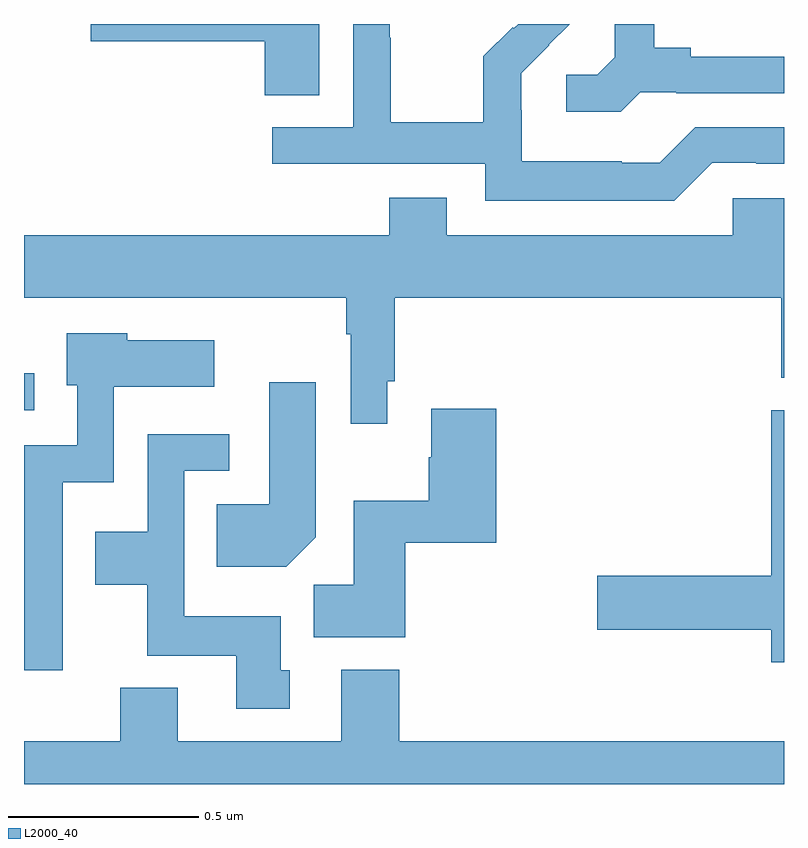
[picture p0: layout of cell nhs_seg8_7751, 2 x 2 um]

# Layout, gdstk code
import gdstk
lib = gdstk.Library(unit=1e-6, precision=1e-09)
def R(c, l, rs):  # rectangles x0, y0, x1, y1
    for r in rs: c.add(gdstk.rectangle(r[:2], r[2:], *l))
def P(c, l, *ps):  # polygons
    for p in ps: c.add(gdstk.Polygon(p, *l))
L2000_40 = (2000, 40)

nhs_seg8_7751 = lib.new_cell('nhs_seg8_7751')
R(nhs_seg8_7751, L2000_40, [(214,1102.884,214.027,1102.981), (215.831,1103.899,215.976,1103.9)])
P(nhs_seg8_7751, L2000_40, [(215.622,1103.721),(215.716,1103.721),(215.716,1103.718),(216,1103.718),(216,1103.814),(215.755,1103.814),(215.755,1103.837),(215.659,1103.837),(215.659,1103.9),(215.555,1103.9),(215.555,1103.813),(215.508,1103.766),(215.427,1103.766),(215.427,1103.669),(215.57,1103.669)],
  [(215.811,1103.535),(215.927,1103.535),(215.927,1103.532),(216,1103.532),(216,1103.628),(215.766,1103.628),(215.673,1103.535),(215.573,1103.535),(215.573,1103.539),(215.31,1103.539),(215.31,1103.673),(215.308,1103.673),(215.308,1103.77),(215.382,1103.844),(215.381,1103.845),(215.436,1103.9),(215.3,1103.9),(215.289,1103.889),(215.286,1103.892),(215.209,1103.815),(215.209,1103.641),(214.965,1103.641),(214.965,1103.864),(214.962,1103.864),(214.962,1103.9),(214.866,1103.9),(214.866,1103.628),(214.653,1103.628),(214.653,1103.532),(215.214,1103.532),(215.214,1103.435),(215.711,1103.435)],
  [(214.777,1103.9),(214.176,1103.9),(214.176,1103.855),(214.634,1103.855),(214.634,1103.713),(214.777,1103.713)],
  [(214.956,1102.96),(214.976,1102.96),(214.976,1103.18),(215.993,1103.18),(215.993,1102.969),(216,1102.969),(216,1103.442),(215.865,1103.442),(215.865,1103.344),(215.113,1103.344),(215.113,1103.443),(214.961,1103.443),(214.961,1103.344),(214,1103.344),(214,1103.18),(214.848,1103.18),(214.848,1103.084),(214.86,1103.084),(214.86,1102.848),(214.956,1102.848)],
  [(214.102,1102.694),(214.236,1102.694),(214.236,1102.946),(214.501,1102.946),(214.501,1103.068),(214.272,1103.068),(214.272,1103.086),(214.112,1103.086),(214.112,1102.95),(214.14,1102.95),(214.14,1102.791),(214,1102.791),(214,1102.2),(214.102,1102.2)],
  [(214.768,1102.55),(214.768,1102.957),(214.646,1102.957),(214.646,1102.636),(214.507,1102.636),(214.507,1102.472),(214.69,1102.472)],
  [(215.003,1102.535),(215.243,1102.535),(215.243,1102.888),(215.072,1102.888),(215.072,1102.76),(215.065,1102.76),(215.065,1102.645),(214.868,1102.645),(214.868,1102.424),(214.763,1102.424),(214.763,1102.286),(215.003,1102.286)],
  [(216,1102.884),(215.966,1102.884),(215.966,1102.448),(215.508,1102.448),(215.508,1102.306),(215.966,1102.306),(215.966,1102.22),(216,1102.22)],
  [(214.699,1102.2),(214.675,1102.2),(214.675,1102.342),(214.422,1102.342),(214.422,1102.725),(214.54,1102.725),(214.54,1102.821),(214.326,1102.821),(214.326,1102.564),(214.187,1102.564),(214.187,1102.424),(214.324,1102.424),(214.324,1102.238),(214.559,1102.238),(214.559,1102.098),(214.699,1102.098)],
  [(216,1102.012),(214.988,1102.012),(214.988,1102.201),(214.835,1102.201),(214.835,1102.012),(214.405,1102.012),(214.405,1102.153),(214.253,1102.153),(214.253,1102.012),(214,1102.012),(214,1101.9),(216,1101.9)])

lib.write_gds('nhs_seg8_7751.gds')
